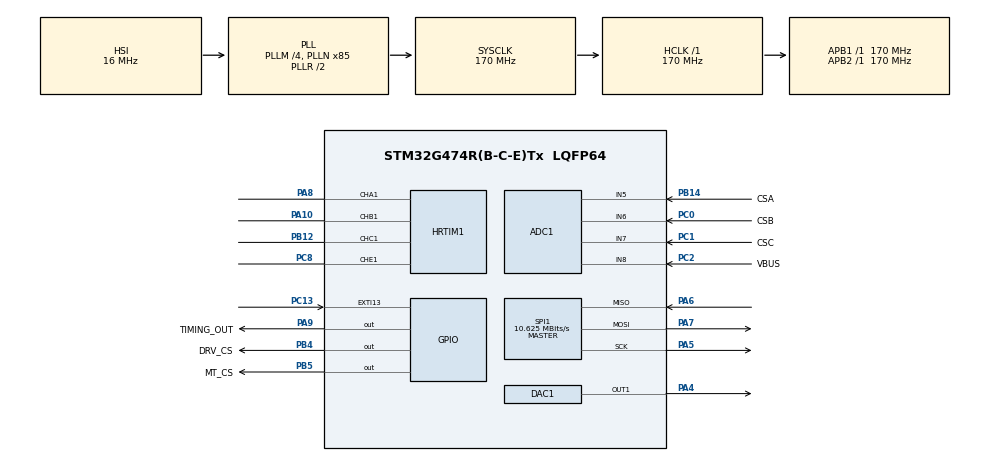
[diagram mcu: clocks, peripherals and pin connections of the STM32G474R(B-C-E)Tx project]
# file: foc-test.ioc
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ADC1.Channel-1\#ChannelRegularConversion=ADC_CHANNEL_5
ADC1.Channel-2\#ChannelRegularConversion=ADC_CHANNEL_6
ADC1.Channel-3\#ChannelRegularConversion=ADC_CHANNEL_7
ADC1.Channel-4\#ChannelRegularConversion=ADC_CHANNEL_8
ADC1.ContinuousConvMode=DISABLE
ADC1.DMAContinuousRequests=ENABLE
ADC1.EnableRegularConversion=ENABLE
ADC1.ExternalTrigConv=ADC_EXTERNALTRIG_HRTIM_TRG1
ADC1.NbrOfConversion=4
ADC1.NbrOfConversionFlag=1
ADC1.OffsetNumber-1\#ChannelRegularConversion=ADC_OFFSET_NONE
ADC1.OffsetNumber-2\#ChannelRegularConversion=ADC_OFFSET_NONE
ADC1.OffsetNumber-3\#ChannelRegularConversion=ADC_OFFSET_NONE
ADC1.OffsetNumber-4\#ChannelRegularConversion=ADC_OFFSET_NONE
ADC1.Rank-1\#ChannelRegularConversion=1
ADC1.Rank-2\#ChannelRegularConversion=2
ADC1.Rank-3\#ChannelRegularConversion=3
ADC1.Rank-4\#ChannelRegularConversion=4
ADC1.SamplingTime-1\#ChannelRegularConversion=ADC_SAMPLETIME_24CYCLES_5
ADC1.SamplingTime-2\#ChannelRegularConversion=ADC_SAMPLETIME_24CYCLES_5
ADC1.SamplingTime-3\#ChannelRegularConversion=ADC_SAMPLETIME_24CYCLES_5
ADC1.SamplingTime-4\#ChannelRegularConversion=ADC_SAMPLETIME_12CYCLES_5
ADC1.master=1
Dma.ADC1.0.Direction=DMA_PERIPH_TO_MEMORY
Dma.ADC1.0.EventEnable=DISABLE
Dma.ADC1.0.Instance=DMA1_Channel1
Dma.ADC1.0.MemDataAlignment=DMA_MDATAALIGN_HALFWORD
Dma.ADC1.0.MemInc=DMA_MINC_ENABLE
Dma.ADC1.0.Mode=DMA_CIRCULAR
Dma.ADC1.0.PeriphDataAlignment=DMA_PDATAALIGN_HALFWORD
Dma.ADC1.0.PeriphInc=DMA_PINC_DISABLE
Dma.ADC1.0.Polarity=HAL_DMAMUX_REQ_GEN_RISING
Dma.ADC1.0.Priority=DMA_PRIORITY_MEDIUM
Dma.ADC1.0.RequestNumber=1
Dma.ADC1.0.SignalID=NONE
Dma.ADC1.0.SyncEnable=DISABLE
Dma.ADC1.0.SyncPolarity=HAL_DMAMUX_SYNC_NO_EVENT
Dma.ADC1.0.SyncRequestNumber=1
Dma.ADC1.0.SyncSignalID=NONE
Dma.Request0=ADC1
HRTIM1.ADCTrigger1_Source1=HRTIM_ADCTRIGGEREVENT13_MASTER_CMP3
HRTIM1.ADCTrigger_Id1=HRTIM_ADCTRIGGER_1
HRTIM1.CompareUnit1-MasterTimer=__NULL
HRTIM1.CompareUnit1-Output_TA1=HRTIM_COMPAREUNIT_1
HRTIM1.CompareUnit1-Output_TB1=HRTIM_COMPAREUNIT_1
HRTIM1.CompareUnit1-Output_TC1=HRTIM_COMPAREUNIT_1
HRTIM1.CompareUnit1-Output_TE1=HRTIM_COMPAREUNIT_1
HRTIM1.CompareUnit2-Output_TA1=HRTIM_COMPAREUNIT_2
HRTIM1.CompareUnit2-Output_TB1=HRTIM_COMPAREUNIT_2
HRTIM1.CompareUnit2-Output_TC1=HRTIM_COMPAREUNIT_2
HRTIM1.CompareUnit3-MasterTimer=HRTIM_COMPAREUNIT_3
HRTIM1.CompareUnit3-Output_TA1=__NULL
HRTIM1.CompareUnit4-MasterTimer=HRTIM_COMPAREUNIT_4
HRTIM1.CompareValue1-Output_TE1=600
HRTIM1.CompareValue4-MasterTimer=0xFFF7 - 8200
HRTIM1.GreaterCMP1_TE=HRTIM_TIMERGTCMP1_EQUAL
HRTIM1.InterruptRequests1_Master=HRTIM_MASTER_IT_MCMP4
HRTIM1.NumberADCTriggerSource1=1
HRTIM1.NumberInterruptRequests_Master-MasterTimer=1
HRTIM1.NumberResetSource1-Output_TA1=1
HRTIM1.NumberResetSource1-Output_TB1=1
HRTIM1.NumberResetSource1-Output_TC1=1
HRTIM1.NumberResetSource1-Output_TE1=1
HRTIM1.NumberSetSource1-Output_TA1=1
HRTIM1.NumberSetSource1-Output_TB1=1
HRTIM1.NumberSetSource1-Output_TC1=1
HRTIM1.NumberSetSource1-Output_TE1=1
HRTIM1.ORingUpdateSource_ADCTrigger1=HRTIM_ADCTRIGGERUPDATE_TIMER_A
HRTIM1.PreloadEnable-MasterTimer=HRTIM_PRELOAD_ENABLED
HRTIM1.PrescalerRatio_MASTER=HRTIM_PRESCALERRATIO_MUL8
HRTIM1.PrescalerRatio_TA=HRTIM_PRESCALERRATIO_MUL8
HRTIM1.PrescalerRatio_TB=HRTIM_PRESCALERRATIO_MUL8
HRTIM1.PrescalerRatio_TC=HRTIM_PRESCALERRATIO_MUL8
HRTIM1.PrescalerRatio_TE=HRTIM_PRESCALERRATIO_MUL8
HRTIM1.RepetitionCounter-MasterTimer=0x00
HRTIM1.RepetitionUpdate-MasterTimer=HRTIM_UPDATEONREPETITION_ENABLED
HRTIM1.ResetOutput1_Source1-Output_TA1=HRTIM_OUTPUTRESET_TIMCMP2
HRTIM1.ResetOutput1_Source1-Output_TB1=HRTIM_OUTPUTRESET_TIMCMP2
HRTIM1.ResetOutput1_Source1-Output_TC1=HRTIM_OUTPUTRESET_TIMCMP2
HRTIM1.ResetOutput1_Source1-Output_TE1=HRTIM_OUTPUTRESET_TIMCMP1
HRTIM1.SetOutput1_Source1-Output_TA1=HRTIM_OUTPUTSET_TIMCMP1
HRTIM1.SetOutput1_Source1-Output_TB1=HRTIM_OUTPUTSET_TIMCMP1
HRTIM1.SetOutput1_Source1-Output_TC1=HRTIM_OUTPUTSET_TIMCMP1
HRTIM1.SetOutput1_Source1-Output_TE1=HRTIM_OUTPUTSET_MASTERCMP3
HRTIM1.UpDownMode-Output_TA1=HRTIM_TIMERUPDOWNMODE_UPDOWN
HRTIM1.UpDownMode-Output_TB1=HRTIM_TIMERUPDOWNMODE_UPDOWN
HRTIM1.UpDownMode-Output_TC1=HRTIM_TIMERUPDOWNMODE_UPDOWN
Mcu.Family=STM32G4
Mcu.Name=STM32G474R(B-C-E)Tx
Mcu.Package=LQFP64
NUCLEO-G474RE.BUTTON=1
NUCLEO-G474RE.LD2=false
NUCLEO-G474RE.VCP=true
NVIC.DMA1_Channel1_IRQn=true\:0\:0\:false\:false\:true\:false\:true\:true
NVIC.EXTI15_10_IRQn=true\:0\:0\:false\:false\:true\:true\:true\:true
NVIC.HRTIM1_Master_IRQn=true\:0\:0\:false\:false\:true\:true\:true\:true
NVIC.PriorityGroup=NVIC_PRIORITYGROUP_4
PA10.Mode=Output_TB1
PA10.Signal=HRTIM1_CHB1
PA13.GPIO_Label=T_SWDIO
PA13.Signal=SYS_JTMS-SWDIO
PA14.GPIO_Label=T_SWCLK
PA14.Signal=SYS_JTCK-SWCLK
PA2.Signal=LPUART1_TX
PA3.Signal=LPUART1_RX
PA4.Signal=COMP_DAC11_group
PA5.Mode=Full_Duplex_Master
PA5.Signal=SPI1_SCK
PA6.Mode=Full_Duplex_Master
PA6.Signal=SPI1_MISO
PA7.Mode=Full_Duplex_Master
PA7.Signal=SPI1_MOSI
PA8.Mode=Output_TA1
PA8.Signal=HRTIM1_CHA1
PA9.GPIO_Label=TIMING_OUT
PA9.GPIO_Speed=GPIO_SPEED_FREQ_VERY_HIGH
PA9.Signal=GPIO_Output
PB12.Mode=Output_TC1
PB12.Signal=HRTIM1_CHC1
PB14.GPIO_Label=CSA
PB14.Mode=IN5-Single-Ended
PB14.Signal=ADC1_IN5
PB3.GPIO_Label=T_SWO
PB3.Signal=SYS_JTDO-SWO
PB4.GPIO_Label=DRV_CS
PB4.GPIO_Speed=GPIO_SPEED_FREQ_VERY_HIGH
PB4.Signal=GPIO_Output
PB5.GPIO_Label=MT_CS
PB5.GPIO_Speed=GPIO_SPEED_FREQ_VERY_HIGH
PB5.Signal=GPIO_Output
PC0.GPIO_Label=CSB
PC0.Mode=IN6-Single-Ended
PC0.Signal=ADC1_IN6
PC1.GPIO_Label=CSC
PC1.Mode=IN7-Single-Ended
PC1.Signal=ADC1_IN7
PC13.Signal=GPXTI13
PC14-OSC32_IN.GPIO_Label=RCC_OSC32_IN
PC14-OSC32_IN.Signal=RCC_OSC32_IN
PC15-OSC32_OUT.GPIO_Label=RCC_OSC32_OUT
PC15-OSC32_OUT.Signal=RCC_OSC32_OUT
PC2.GPIO_Label=VBUS
PC2.Mode=IN8-Single-Ended
PC2.Signal=ADC1_IN8
PC8.Mode=Output_TE1
PC8.Signal=HRTIM1_CHE1
PF0-OSC_IN.GPIO_Label=RCC_OSC_IN
PF0-OSC_IN.Mode=HSE-External-Oscillator
PF0-OSC_IN.Signal=RCC_OSC_IN
PF1-OSC_OUT.GPIO_Label=RCC_OSC_OUT
PF1-OSC_OUT.Mode=HSE-External-Oscillator
PF1-OSC_OUT.Signal=RCC_OSC_OUT
ProjectManager.HeapSize=0x200
ProjectManager.StackSize=0x400
ProjectManager.TargetToolchain=CMake
RCC.ADC12Freq_Value=170000000
RCC.ADC345Freq_Value=170000000
RCC.AHBFreq_Value=170000000
RCC.APB1Freq_Value=170000000
RCC.APB1TimFreq_Value=170000000
RCC.APB2Freq_Value=170000000
RCC.APB2TimFreq_Value=170000000
RCC.CortexFreq_Value=170000000
RCC.EXTERNAL_CLOCK_VALUE=12288000
RCC.HCLKFreq_Value=170000000
RCC.HSE_VALUE=24000000
RCC.HSI48_VALUE=48000000
RCC.HSI_VALUE=16000000
RCC.LSE_VALUE=32768
RCC.PLLM=RCC_PLLM_DIV4
RCC.PLLN=85
RCC.RTCClockSelection=RCC_RTCCLKSOURCE_LSE
RCC.SYSCLKFreq_VALUE=170000000
RCC.SYSCLKSource=RCC_SYSCLKSOURCE_PLLCLK
RCC.USBFreq_Value=170000000
RCC.VCOOutputFreq_Value=340000000
SH.COMP_DAC11_group.0=DAC1_OUT1,DAC_OUT1
SPI1.BaudRatePrescaler=SPI_BAUDRATEPRESCALER_16
SPI1.CLKPhase=SPI_PHASE_2EDGE
SPI1.CLKPolarity=SPI_POLARITY_LOW
SPI1.CalculateBaudRate=10.625 MBits/s
SPI1.DataSize=SPI_DATASIZE_16BIT
SPI1.Direction=SPI_DIRECTION_2LINES
SPI1.Mode=SPI_MODE_MASTER
SPI1.VirtualType=VM_MASTER
STMicroelectronics.X-CUBE-ALGOBUILD.1.4.0.LibraryCcDSPOoLibraryJjDSPOoLibrary=true
VP_HRTIM1_VS_hrtimMasterTimerNoOutput.Mode=MasterTimer
VP_NUCLEO-G474RE_VS_BSP_COMMON.Mode=COMMON
VP_STMicroelectronics.X-CUBE-ALGOBUILD_VS_DSPOoLibraryJjLibrary_1.4.0_1.4.0.Mode=DSPOoLibraryJjLibrary
VP_SYS_VS_DBSignals.Mode=DisableDeadBatterySignals
board=NUCLEO-G474RE

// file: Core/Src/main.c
/* USER CODE BEGIN Header */
/**
 ******************************************************************************
 * @file           : main.c
 * @brief          : Main program body
 ******************************************************************************
 * @attention
 *
 * Copyright (c) 2025 STMicroelectronics.
 * All rights reserved.
 *
 * This software is licensed under terms that can be found in the LICENSE file
 * in the root directory of this software component.
 * If no LICENSE file comes with this software, it is provided AS-IS.
 *
 ******************************************************************************
 */
/* USER CODE END Header */
#include "main.h"

/* USER CODE BEGIN Includes */
#include <math.h>
#include <stdbool.h>

#include "foc.h"
#include "peripheral.h"
/* USER CODE END Includes */

COM_InitTypeDef BspCOMInit;
ADC_HandleTypeDef hadc1;
DMA_HandleTypeDef hdma_adc1;

DAC_HandleTypeDef hdac1;

HRTIM_HandleTypeDef hhrtim1;

SPI_HandleTypeDef hspi1;

void SystemClock_Config(void);
static void MX_GPIO_Init(void);
static void MX_DMA_Init(void);
static void MX_HRTIM1_Init(void);
static void MX_SPI1_Init(void);
static void MX_ADC1_Init(void);
static void MX_DAC1_Init(void);

int main(void) {

  /* MCU Configuration--------------------------------------------------------*/

  /* Reset of all peripherals, Initializes the Flash interface and the Systick.
   */
  HAL_Init();

  /* Configure the system clock */
  SystemClock_Config();

  /* Initialize all configured peripherals */
  MX_GPIO_Init();
  MX_DMA_Init();
  MX_HRTIM1_Init();
  MX_SPI1_Init();
  MX_ADC1_Init();
  MX_DAC1_Init();
  /* USER CODE BEGIN 2 */

  // ADC
  HAL_ADC_Start_DMA(&hadc1, (uint32_t *)CSA, 4);

  // HRTIM
  HAL_HRTIM_WaveformOutputStart(&hhrtim1, HRTIM_OUTPUT_TA1 | HRTIM_OUTPUT_TB1 |
                                              HRTIM_OUTPUT_TC1 |
                                              HRTIM_OUTPUT_TE1);
  HAL_HRTIM_WaveformCounterStart(&hhrtim1, HRTIM_TIMERID_TIMER_A |
                                               HRTIM_TIMERID_TIMER_B |
                                               HRTIM_TIMERID_TIMER_C);
  HAL_HRTIM_WaveformCounterStart_IT(
      &hhrtim1, HRTIM_TIMERID_MASTER | HRTIM_TIMERID_TIMER_E);
  /*HAL_HRTIM_TIMxRegisterCallback(&hhrtim1,
                                 HAL_HRTIM_REPETITIONEVENTCALLBACK_CB_ID,
                                 &HAL_HRTIM_RepetitionEventCallback);*/
  __enable_irq();

  DUTY_CYCLE(&hhrtim1, HRTIM_TIMERINDEX_TIMER_A, 0.0f);
  DUTY_CYCLE(&hhrtim1, HRTIM_TIMERINDEX_TIMER_B, 0.0f);
  DUTY_CYCLE(&hhrtim1, HRTIM_TIMERINDEX_TIMER_C, 0.0f);

  // DAC
  HAL_DAC_Start(&hdac1, DAC_CHANNEL_1);

  /* USER CODE END 2 */

  /* Initialize USER push-button, will be used to trigger an interrupt each time
   * it's pressed.*/
  BSP_PB_Init(BUTTON_USER, BUTTON_MODE_EXTI);

  /* Initialize COM1 port (115200, 8 bits (7-bit data + 1 stop bit), no parity
   */
  BspCOMInit.BaudRate = 115200;
  BspCOMInit.WordLength = COM_WORDLENGTH_8B;
  BspCOMInit.StopBits = COM_STOPBITS_1;
  BspCOMInit.Parity = COM_PARITY_NONE;
  BspCOMInit.HwFlowCtl = COM_HWCONTROL_NONE;
  if (BSP_COM_Init(COM1, &BspCOMInit) != BSP_ERROR_NONE) {
    Error_Handler();
  }

  /* Infinite loop */
  /* USER CODE BEGIN WHILE */
  // DRV
  SPI_MODE_DRV(&hspi1);

  int a = 0;
  while (a == 0) {
    HAL_Delay(1);
  }

  printf("--SHOULD BE 0x00--\n");
  printf("Warnings & Watchdog Reset: 0x%X\n", DRV_Read(&hspi1, 0x1));
  printf("OV/VDS Faults: 0x%X\n", DRV_Read(&hspi1, 0x2));
  printf("IC Faults: 0x%X\n", DRV_Read(&hspi1, 0x3));
  printf("VGS Faults: 0x%X\n", DRV_Read(&hspi1, 0x4));

  printf("--SHOULD BE 0x344--\n");
  printf("Control Gate A: 0x%X\n", DRV_Read(&hspi1, 0x5));

  // Set the registers
  DRV_Write(&hspi1, 0x5,
            0x378);  // 1758ns drive time, 0.25A source/sink (high-side)
  DRV_Write(&hspi1, 0x6,
            0x378);  // 1758ns drive time, 0.25A source/sink (low-side)
  DRV_Write(&hspi1, 0x7,
            0x286);  // defaults except 3 input pwm, 35ns added dead time
  // DRV_Write(0xA, 0x07F);  // Defaults except 80V/V for amplifier
  DRV_Write(&hspi1, 0xA, 0x2A);   // Defaults except 40V/V for amplifier
  DRV_Write(&hspi1, 0xC, 0x050);  // Set VDS trip = 0.109V, roughly 21.8A

  printf("--SHOULD BE 0x378--\n");
  printf("Control Gate A: 0x%X\n", DRV_Read(&hspi1, 0x5));

  // MT
  SPI_MODE_MT(&hspi1);
  HAL_Delay(5);
  FOC_Enable();
  float target_vel = 20.0f;  // rad/s
  // int timind = 0;
  while (1) {
    /* USER CODE END WHILE */

    /* USER CODE BEGIN 3 */
    // Velocity PID
    float I_new = 0.1f * (target_vel - vel);
    if (I_new < -2.0f) {
      I_new = -2.0f;
    }
    if (I_new > 2.0f) {
      I_new = 2.0f;
    }
    I_ref = I_new;
    HAL_Delay(5);

    // RESISTANCE MEASUREMENT
    /*DUTY_CYCLE(&hhrtim1, HRTIM_TIMERINDEX_TIMER_A, 0.02f);
    DUTY_CYCLE(&hhrtim1, HRTIM_TIMERINDEX_TIMER_B, 0.0f);
    DUTY_CYCLE(&hhrtim1, HRTIM_TIMERINDEX_TIMER_C, 0.0f);
    float csa = 0.0040283203f * (CSA[0] - 2029);
    float csb = 0.0040283203f * (CSA[1] - 2028);
    float csc = 0.0040283203f * (CSA[2] - 2022);
    float volt = CSA[3] * 0.0032470701f;
    printf("csa:%f,csb:%f,csc:%f,volt:%f\n", csa, csb, csc, volt);
    // Total resistance: (volt * 0.02)/csa = 0.15055920053
    // Phase resistance: 2/3 * total resistance = 0.10037280035*/

    // DETERMINING STEADY STATE
    /*uint32_t csa_tot = 0;
    uint32_t csb_tot = 0;
    uint32_t csc_tot = 0;
    for (int i = 0; i < 200; i++) {
      csa_tot += CSA[0];
      csb_tot += CSA[1];
      csc_tot += CSA[2];
      for (volatile int i = 0; i < 1700; i++) {  // 10uS delay
        __NOP();
      }
    }
    printf("csa:%lu,csb:%lu,csc:%lu\n", csa_tot / 200, csb_tot / 200,
           csc_tot / 200);*/

    // ANGLE SENSOR CALIBRATION
    /*if (timind == 0) {
      DUTY_CYCLE(&hhrtim1, HRTIM_TIMERINDEX_TIMER_A, 0.02);
      DUTY_CYCLE(&hhrtim1, HRTIM_TIMERINDEX_TIMER_B, 0.0f);
      DUTY_CYCLE(&hhrtim1, HRTIM_TIMERINDEX_TIMER_C, 0.0f);
    } else if (timind == 1) {
      DUTY_CYCLE(&hhrtim1, HRTIM_TIMERINDEX_TIMER_A, 0.0f);
      DUTY_CYCLE(&hhrtim1, HRTIM_TIMERINDEX_TIMER_B, 0.02);
      DUTY_CYCLE(&hhrtim1, HRTIM_TIMERINDEX_TIMER_C, 0.0f);
    } else if (timind == 2) {
      DUTY_CYCLE(&hhrtim1, HRTIM_TIMERINDEX_TIMER_A, 0.0f);
      DUTY_CYCLE(&hhrtim1, HRTIM_TIMERINDEX_TIMER_B, 0.0f);
      DUTY_CYCLE(&hhrtim1, HRTIM_TIMERINDEX_TIMER_C, 0.02);
    }
    float angle = MT_READ(&hspi1);
    printf("angle:%f\n", angle);
    HAL_Delay(10);*/
  }
  /* USER CODE END 3 */
}

void SystemClock_Config(void) {
  RCC_OscInitTypeDef RCC_OscInitStruct = {0};
  RCC_ClkInitTypeDef RCC_ClkInitStruct = {0};

  /** Configure the main internal regulator output voltage
   */
  HAL_PWREx_ControlVoltageScaling(PWR_REGULATOR_VOLTAGE_SCALE1_BOOST);

  /** Initializes the RCC Oscillators according to the specified parameters
   * in the RCC_OscInitTypeDef structure.
   */
  RCC_OscInitStruct.OscillatorType = RCC_OSCILLATORTYPE_HSI;
  RCC_OscInitStruct.HSIState = RCC_HSI_ON;
  RCC_OscInitStruct.HSICalibrationValue = RCC_HSICALIBRATION_DEFAULT;
  RCC_OscInitStruct.PLL.PLLState = RCC_PLL_ON;
  RCC_OscInitStruct.PLL.PLLSource = RCC_PLLSOURCE_HSI;
  RCC_OscInitStruct.PLL.PLLM = RCC_PLLM_DIV4;
  RCC_OscInitStruct.PLL.PLLN = 85;
  RCC_OscInitStruct.PLL.PLLP = RCC_PLLP_DIV2;
  RCC_OscInitStruct.PLL.PLLQ = RCC_PLLQ_DIV2;
  RCC_OscInitStruct.PLL.PLLR = RCC_PLLR_DIV2;
  if (HAL_RCC_OscConfig(&RCC_OscInitStruct) != HAL_OK) {
    Error_Handler();
  }

  /** Initializes the CPU, AHB and APB buses clocks
   */
  RCC_ClkInitStruct.ClockType = RCC_CLOCKTYPE_HCLK | RCC_CLOCKTYPE_SYSCLK |
                                RCC_CLOCKTYPE_PCLK1 | RCC_CLOCKTYPE_PCLK2;
  RCC_ClkInitStruct.SYSCLKSource = RCC_SYSCLKSOURCE_PLLCLK;
  RCC_ClkInitStruct.AHBCLKDivider = RCC_SYSCLK_DIV1;
  RCC_ClkInitStruct.APB1CLKDivider = RCC_HCLK_DIV1;
  RCC_ClkInitStruct.APB2CLKDivider = RCC_HCLK_DIV1;

  if (HAL_RCC_ClockConfig(&RCC_ClkInitStruct, FLASH_LATENCY_4) != HAL_OK) {
    Error_Handler();
  }
}

static void MX_ADC1_Init(void) {

  ADC_MultiModeTypeDef multimode = {0};
  ADC_ChannelConfTypeDef sConfig = {0};

  /** Common config
   */
  hadc1.Instance = ADC1;
  hadc1.Init.ClockPrescaler = ADC_CLOCK_SYNC_PCLK_DIV4;
  hadc1.Init.Resolution = ADC_RESOLUTION_12B;
  hadc1.Init.DataAlign = ADC_DATAALIGN_RIGHT;
  hadc1.Init.GainCompensation = 0;
  hadc1.Init.ScanConvMode = ADC_SCAN_ENABLE;
  hadc1.Init.EOCSelection = ADC_EOC_SINGLE_CONV;
  hadc1.Init.LowPowerAutoWait = DISABLE;
  hadc1.Init.ContinuousConvMode = DISABLE;
  hadc1.Init.NbrOfConversion = 4;
  hadc1.Init.DiscontinuousConvMode = DISABLE;
  hadc1.Init.ExternalTrigConv = ADC_EXTERNALTRIG_HRTIM_TRG1;
  hadc1.Init.ExternalTrigConvEdge = ADC_EXTERNALTRIGCONVEDGE_RISING;
  hadc1.Init.DMAContinuousRequests = ENABLE;
  hadc1.Init.Overrun = ADC_OVR_DATA_PRESERVED;
  hadc1.Init.OversamplingMode = DISABLE;
  if (HAL_ADC_Init(&hadc1) != HAL_OK) {
    Error_Handler();
  }

  /** Configure the ADC multi-mode
   */
  multimode.Mode = ADC_MODE_INDEPENDENT;
  if (HAL_ADCEx_MultiModeConfigChannel(&hadc1, &multimode) != HAL_OK) {
    Error_Handler();
  }

  /** Configure Regular Channel
   */
  sConfig.Channel = ADC_CHANNEL_5;
  sConfig.Rank = ADC_REGULAR_RANK_1;
  sConfig.SamplingTime = ADC_SAMPLETIME_24CYCLES_5;
  sConfig.SingleDiff = ADC_SINGLE_ENDED;
  sConfig.OffsetNumber = ADC_OFFSET_NONE;
  sConfig.Offset = 0;
  if (HAL_ADC_ConfigChannel(&hadc1, &sConfig) != HAL_OK) {
    Error_Handler();
  }

  /** Configure Regular Channel
   */
  sConfig.Channel = ADC_CHANNEL_6;
  sConfig.Rank = ADC_REGULAR_RANK_2;
  if (HAL_ADC_ConfigChannel(&hadc1, &sConfig) != HAL_OK) {
    Error_Handler();
  }

  /** Configure Regular Channel
   */
  sConfig.Channel = ADC_CHANNEL_7;
  sConfig.Rank = ADC_REGULAR_RANK_3;
  if (HAL_ADC_ConfigChannel(&hadc1, &sConfig) != HAL_OK) {
    Error_Handler();
  }

  /** Configure Regular Channel
   */
  sConfig.Channel = ADC_CHANNEL_8;
  sConfig.Rank = ADC_REGULAR_RANK_4;
  sConfig.SamplingTime = ADC_SAMPLETIME_12CYCLES_5;
  if (HAL_ADC_ConfigChannel(&hadc1, &sConfig) != HAL_OK) {
    Error_Handler();
  }
}

static void MX_DAC1_Init(void) {

  DAC_ChannelConfTypeDef sConfig = {0};

  /** DAC Initialization
   */
  hdac1.Instance = DAC1;
  if (HAL_DAC_Init(&hdac1) != HAL_OK) {
    Error_Handler();
  }

  /** DAC channel OUT1 config
   */
  sConfig.DAC_HighFrequency = DAC_HIGH_FREQUENCY_INTERFACE_MODE_AUTOMATIC;
  sConfig.DAC_DMADoubleDataMode = DISABLE;
  sConfig.DAC_SignedFormat = DISABLE;
  sConfig.DAC_SampleAndHold = DAC_SAMPLEANDHOLD_DISABLE;
  sConfig.DAC_Trigger = DAC_TRIGGER_NONE;
  sConfig.DAC_Trigger2 = DAC_TRIGGER_NONE;
  sConfig.DAC_OutputBuffer = DAC_OUTPUTBUFFER_ENABLE;
  sConfig.DAC_ConnectOnChipPeripheral = DAC_CHIPCONNECT_EXTERNAL;
  sConfig.DAC_UserTrimming = DAC_TRIMMING_FACTORY;
  if (HAL_DAC_ConfigChannel(&hdac1, &sConfig, DAC_CHANNEL_1) != HAL_OK) {
    Error_Handler();
  }
}

static void MX_HRTIM1_Init(void) {

  HRTIM_ADCTriggerCfgTypeDef pADCTriggerCfg = {0};
  HRTIM_TimeBaseCfgTypeDef pTimeBaseCfg = {0};
  HRTIM_TimerCfgTypeDef pTimerCfg = {0};
  HRTIM_CompareCfgTypeDef pCompareCfg = {0};
  HRTIM_TimerCtlTypeDef pTimerCtl = {0};
  HRTIM_OutputCfgTypeDef pOutputCfg = {0};

  hhrtim1.Instance = HRTIM1;
  hhrtim1.Init.HRTIMInterruptResquests = HRTIM_IT_NONE;
  hhrtim1.Init.SyncOptions = HRTIM_SYNCOPTION_NONE;
  if (HAL_HRTIM_Init(&hhrtim1) != HAL_OK) {
    Error_Handler();
  }
  if (HAL_HRTIM_DLLCalibrationStart(&hhrtim1, HRTIM_CALIBRATIONRATE_3) !=
      HAL_OK) {
    Error_Handler();
  }
  if (HAL_HRTIM_PollForDLLCalibration(&hhrtim1, 10) != HAL_OK) {
    Error_Handler();
  }
  pADCTriggerCfg.UpdateSource = HRTIM_ADCTRIGGERUPDATE_TIMER_A;
  pADCTriggerCfg.Trigger = HRTIM_ADCTRIGGEREVENT13_MASTER_CMP3;
  if (HAL_HRTIM_ADCTriggerConfig(&hhrtim1, HRTIM_ADCTRIGGER_1,
                                 &pADCTriggerCfg) != HAL_OK) {
    Error_Handler();
  }
  if (HAL_HRTIM_ADCPostScalerConfig(&hhrtim1, HRTIM_ADCTRIGGER_1, 0x0) !=
      HAL_OK) {
    Error_Handler();
  }
  pTimeBaseCfg.Period = 0xFFF7;
  pTimeBaseCfg.RepetitionCounter = 0x00;
  pTimeBaseCfg.PrescalerRatio = HRTIM_PRESCALERRATIO_MUL8;
  pTimeBaseCfg.Mode = HRTIM_MODE_CONTINUOUS;
  if (HAL_HRTIM_TimeBaseConfig(&hhrtim1, HRTIM_TIMERINDEX_MASTER,
                               &pTimeBaseCfg) != HAL_OK) {
    Error_Handler();
  }
  pTimerCfg.InterruptRequests = HRTIM_MASTER_IT_MCMP4;
  pTimerCfg.DMARequests = HRTIM_MASTER_DMA_NONE;
  pTimerCfg.DMASrcAddress = 0x0000;
  pTimerCfg.DMADstAddress = 0x0000;
  pTimerCfg.DMASize = 0x1;
  pTimerCfg.HalfModeEnable = HRTIM_HALFMODE_DISABLED;
  pTimerCfg.InterleavedMode = HRTIM_INTERLEAVED_MODE_DISABLED;
  pTimerCfg.StartOnSync = HRTIM_SYNCSTART_DISABLED;
  pTimerCfg.ResetOnSync = HRTIM_SYNCRESET_DISABLED;
  pTimerCfg.DACSynchro = HRTIM_DACSYNC_NONE;
  pTimerCfg.PreloadEnable = HRTIM_PRELOAD_ENABLED;
  pTimerCfg.UpdateGating = HRTIM_UPDATEGATING_INDEPENDENT;
  pTimerCfg.BurstMode = HRTIM_TIMERBURSTMODE_MAINTAINCLOCK;
  pTimerCfg.RepetitionUpdate = HRTIM_UPDATEONREPETITION_ENABLED;
  pTimerCfg.ReSyncUpdate = HRTIM_TIMERESYNC_UPDATE_UNCONDITIONAL;
  if (HAL_HRTIM_WaveformTimerConfig(&hhrtim1, HRTIM_TIMERINDEX_MASTER,
                                    &pTimerCfg) != HAL_OK) {
    Error_Handler();
  }
  pCompareCfg.CompareValue = 0xFFF7;
  if (HAL_HRTIM_WaveformCompareConfig(&hhrtim1, HRTIM_TIMERINDEX_MASTER,
                                      HRTIM_COMPAREUNIT_3,
                                      &pCompareCfg) != HAL_OK) {
    Error_Handler();
  }
  pCompareCfg.CompareValue = 0xFFF7 - 8200;
  if (HAL_HRTIM_WaveformCompareConfig(&hhrtim1, HRTIM_TIMERINDEX_MASTER,
                                      HRTIM_COMPAREUNIT_4,
                                      &pCompareCfg) != HAL_OK) {
    Error_Handler();
  }
  if (HAL_HRTIM_TimeBaseConfig(&hhrtim1, HRTIM_TIMERINDEX_TIMER_A,
                               &pTimeBaseCfg) != HAL_OK) {
    Error_Handler();
  }
  pTimerCtl.UpDownMode = HRTIM_TIMERUPDOWNMODE_UPDOWN;
  pTimerCtl.TrigHalf = HRTIM_TIMERTRIGHALF_DISABLED;
  pTimerCtl.GreaterCMP1 = HRTIM_TIMERGTCMP1_EQUAL;
  pTimerCtl.DualChannelDacEnable = HRTIM_TIMER_DCDE_DISABLED;
  if (HAL_HRTIM_WaveformTimerControl(&hhrtim1, HRTIM_TIMERINDEX_TIMER_A,
                                     &pTimerCtl) != HAL_OK) {
    Error_Handler();
  }
  if (HAL_HRTIM_RollOverModeConfig(
          &hhrtim1, HRTIM_TIMERINDEX_TIMER_A,
          HRTIM_TIM_FEROM_BOTH | HRTIM_TIM_BMROM_BOTH | HRTIM_TIM_ADROM_BOTH |
              HRTIM_TIM_OUTROM_BOTH | HRTIM_TIM_ROM_BOTH) != HAL_OK) {
    Error_Handler();
  }
  pTimerCfg.InterruptRequests = HRTIM_TIM_IT_NONE;
  pTimerCfg.DMARequests = HRTIM_TIM_DMA_NONE;
  pTimerCfg.PreloadEnable = HRTIM_PRELOAD_DISABLED;
  pTimerCfg.RepetitionUpdate = HRTIM_UPDATEONREPETITION_DISABLED;
  pTimerCfg.PushPull = HRTIM_TIMPUSHPULLMODE_DISABLED;
  pTimerCfg.FaultEnable = HRTIM_TIMFAULTENABLE_NONE;
  pTimerCfg.FaultLock = HRTIM_TIMFAULTLOCK_READWRITE;
  pTimerCfg.DeadTimeInsertion = HRTIM_TIMDEADTIMEINSERTION_DISABLED;
  pTimerCfg.DelayedProtectionMode =
      HRTIM_TIMER_A_B_C_DELAYEDPROTECTION_DISABLED;
  pTimerCfg.UpdateTrigger = HRTIM_TIMUPDATETRIGGER_NONE;
  pTimerCfg.ResetTrigger = HRTIM_TIMRESETTRIGGER_NONE;
  pTimerCfg.ResetUpdate = HRTIM_TIMUPDATEONRESET_DISABLED;
  if (HAL_HRTIM_WaveformTimerConfig(&hhrtim1, HRTIM_TIMERINDEX_TIMER_A,
                                    &pTimerCfg) != HAL_OK) {
    Error_Handler();
  }
  if (HAL_HRTIM_WaveformTimerConfig(&hhrtim1, HRTIM_TIMERINDEX_TIMER_B,
                                    &pTimerCfg) != HAL_OK) {
    Error_Handler();
  }
  if (HAL_HRTIM_WaveformTimerConfig(&hhrtim1, HRTIM_TIMERINDEX_TIMER_C,
                                    &pTimerCfg) != HAL_OK) {
    Error_Handler();
  }
  pTimerCfg.DelayedProtectionMode = HRTIM_TIMER_D_E_DELAYEDPROTECTION_DISABLED;
  if (HAL_HRTIM_WaveformTimerConfig(&hhrtim1, HRTIM_TIMERINDEX_TIMER_E,
                                    &pTimerCfg) != HAL_OK) {
    Error_Handler();
  }
  if (HAL_HRTIM_WaveformCompareConfig(&hhrtim1, HRTIM_TIMERINDEX_TIMER_A,
                                      HRTIM_COMPAREUNIT_1,
                                      &pCompareCfg) != HAL_OK) {
    Error_Handler();
  }
  pCompareCfg.AutoDelayedMode = HRTIM_AUTODELAYEDMODE_REGULAR;
  pCompareCfg.AutoDelayedTimeout = 0x0000;

  if (HAL_HRTIM_WaveformCompareConfig(&hhrtim1, HRTIM_TIMERINDEX_TIMER_A,
                                      HRTIM_COMPAREUNIT_2,
                                      &pCompareCfg) != HAL_OK) {
    Error_Handler();
  }
  pOutputCfg.Polarity = HRTIM_OUTPUTPOLARITY_HIGH;
  pOutputCfg.SetSource = HRTIM_OUTPUTSET_TIMCMP1;
  pOutputCfg.ResetSource = HRTIM_OUTPUTRESET_TIMCMP2;
  pOutputCfg.IdleMode = HRTIM_OUTPUTIDLEMODE_NONE;
  pOutputCfg.IdleLevel = HRTIM_OUTPUTIDLELEVEL_INACTIVE;
  pOutputCfg.FaultLevel = HRTIM_OUTPUTFAULTLEVEL_NONE;
  pOutputCfg.ChopperModeEnable = HRTIM_OUTPUTCHOPPERMODE_DISABLED;
  pOutputCfg.BurstModeEntryDelayed = HRTIM_OUTPUTBURSTMODEENTRY_REGULAR;
  if (HAL_HRTIM_WaveformOutputConfig(&hhrtim1, HRTIM_TIMERINDEX_TIMER_A,
                                     HRTIM_OUTPUT_TA1, &pOutputCfg) != HAL_OK) {
    Error_Handler();
  }
  if (HAL_HRTIM_WaveformOutputConfig(&hhrtim1, HRTIM_TIMERINDEX_TIMER_B,
                                     HRTIM_OUTPUT_TB1, &pOutputCfg) != HAL_OK) {
    Error_Handler();
  }
  if (HAL_HRTIM_WaveformOutputConfig(&hhrtim1, HRTIM_TIMERINDEX_TIMER_C,
                                     HRTIM_OUTPUT_TC1, &pOutputCfg) != HAL_OK) {
    Error_Handler();
  }
  pOutputCfg.SetSource = HRTIM_OUTPUTSET_MASTERCMP3;
  pOutputCfg.ResetSource = HRTIM_OUTPUTRESET_TIMCMP1;
  if (HAL_HRTIM_WaveformOutputConfig(&hhrtim1, HRTIM_TIMERINDEX_TIMER_E,
                                     HRTIM_OUTPUT_TE1, &pOutputCfg) != HAL_OK) {
    Error_Handler();
  }
  if (HAL_HRTIM_TimeBaseConfig(&hhrtim1, HRTIM_TIMERINDEX_TIMER_B,
                               &pTimeBaseCfg) != HAL_OK) {
    Error_Handler();
  }
  if (HAL_HRTIM_WaveformTimerControl(&hhrtim1, HRTIM_TIMERINDEX_TIMER_B,
                                     &pTimerCtl) != HAL_OK) {
    Error_Handler();
  }
  if (HAL_HRTIM_RollOverModeConfig(
          &hhrtim1, HRTIM_TIMERINDEX_TIMER_B,
          HRTIM_TIM_FEROM_BOTH | HRTIM_TIM_BMROM_BOTH | HRTIM_TIM_ADROM_BOTH |
              HRTIM_TIM_OUTROM_BOTH | HRTIM_TIM_ROM_BOTH) != HAL_OK) {
    Error_Handler();
  }
  if (HAL_HRTIM_WaveformCompareConfig(&hhrtim1, HRTIM_TIMERINDEX_TIMER_B,
                                      HRTIM_COMPAREUNIT_1,
                                      &pCompareCfg) != HAL_OK) {
    Error_Handler();
  }

  if (HAL_HRTIM_WaveformCompareConfig(&hhrtim1, HRTIM_TIMERINDEX_TIMER_B,
                                      HRTIM_COMPAREUNIT_2,
                                      &pCompareCfg) != HAL_OK) {
    Error_Handler();
  }
  if (HAL_HRTIM_TimeBaseConfig(&hhrtim1, HRTIM_TIMERINDEX_TIMER_C,
                               &pTimeBaseCfg) != HAL_OK) {
    Error_Handler();
  }
  if (HAL_HRTIM_WaveformTimerControl(&hhrtim1, HRTIM_TIMERINDEX_TIMER_C,
                                     &pTimerCtl) != HAL_OK) {
    Error_Handler();
  }
  if (HAL_HRTIM_RollOverModeConfig(
          &hhrtim1, HRTIM_TIMERINDEX_TIMER_C,
          HRTIM_TIM_FEROM_BOTH | HRTIM_TIM_BMROM_BOTH | HRTIM_TIM_ADROM_BOTH |
              HRTIM_TIM_OUTROM_BOTH | HRTIM_TIM_ROM_BOTH) != HAL_OK) {
    Error_Handler();
  }
  if (HAL_HRTIM_WaveformCompareConfig(&hhrtim1, HRTIM_TIMERINDEX_TIMER_C,
                                      HRTIM_COMPAREUNIT_1,
                                      &pCompareCfg) != HAL_OK) {
    Error_Handler();
  }

  if (HAL_HRTIM_WaveformCompareConfig(&hhrtim1, HRTIM_TIMERINDEX_TIMER_C,
                                      HRTIM_COMPAREUNIT_2,
                                      &pCompareCfg) != HAL_OK) {
    Error_Handler();
  }
  if (HAL_HRTIM_TimeBaseConfig(&hhrtim1, HRTIM_TIMERINDEX_TIMER_E,
                               &pTimeBaseCfg) != HAL_OK) {
    Error_Handler();
  }
  pTimerCtl.UpDownMode = HRTIM_TIMERUPDOWNMODE_UP;
  if (HAL_HRTIM_WaveformTimerControl(&hhrtim1, HRTIM_TIMERINDEX_TIMER_E,
                                     &pTimerCtl) != HAL_OK) {
    Error_Handler();
  }
  pCompareCfg.CompareValue = 600;
  if (HAL_HRTIM_WaveformCompareConfig(&hhrtim1, HRTIM_TIMERINDEX_TIMER_E,
                                      HRTIM_COMPAREUNIT_1,
                                      &pCompareCfg) != HAL_OK) {
    Error_Handler();
  }
  HAL_HRTIM_MspPostInit(&hhrtim1);
}

static void MX_SPI1_Init(void) {

  /* SPI1 parameter configuration*/
  hspi1.Instance = SPI1;
  hspi1.Init.Mode = SPI_MODE_MASTER;
  hspi1.Init.Direction = SPI_DIRECTION_2LINES;
  hspi1.Init.DataSize = SPI_DATASIZE_16BIT;
  hspi1.Init.CLKPolarity = SPI_POLARITY_LOW;
  hspi1.Init.CLKPhase = SPI_PHASE_2EDGE;
  hspi1.Init.NSS = SPI_NSS_SOFT;
  hspi1.Init.BaudRatePrescaler = SPI_BAUDRATEPRESCALER_16;
  hspi1.Init.FirstBit = SPI_FIRSTBIT_MSB;
  hspi1.Init.TIMode = SPI_TIMODE_DISABLE;
  hspi1.Init.CRCCalculation = SPI_CRCCALCULATION_DISABLE;
  hspi1.Init.CRCPolynomial = 7;
  hspi1.Init.CRCLength = SPI_CRC_LENGTH_DATASIZE;
  hspi1.Init.NSSPMode = SPI_NSS_PULSE_DISABLE;
  if (HAL_SPI_Init(&hspi1) != HAL_OK) {
    Error_Handler();
  }
}

static void MX_DMA_Init(void) {
  /* DMA controller clock enable */
  __HAL_RCC_DMAMUX1_CLK_ENABLE();
  __HAL_RCC_DMA1_CLK_ENABLE();

  /* DMA interrupt init */
  /* DMA1_Channel1_IRQn interrupt configuration */
  HAL_NVIC_SetPriority(DMA1_Channel1_IRQn, 0, 0);
  HAL_NVIC_EnableIRQ(DMA1_Channel1_IRQn);
}

static void MX_GPIO_Init(void) {
  GPIO_InitTypeDef GPIO_InitStruct = {0};

  /* GPIO Ports Clock Enable */
  __HAL_RCC_GPIOC_CLK_ENABLE();
  __HAL_RCC_GPIOF_CLK_ENABLE();
  __HAL_RCC_GPIOA_CLK_ENABLE();
  __HAL_RCC_GPIOB_CLK_ENABLE();

  /*Configure GPIO pin Output Level */
  HAL_GPIO_WritePin(TIMING_OUT_GPIO_Port, TIMING_OUT_Pin, GPIO_PIN_RESET);

  /*Configure GPIO pin Output Level */
  HAL_GPIO_WritePin(GPIOB, DRV_CS_Pin | MT_CS_Pin, GPIO_PIN_RESET);

  /*Configure GPIO pin : PC13 */
  GPIO_InitStruct.Pin = GPIO_PIN_13;
  GPIO_InitStruct.Mode = GPIO_MODE_IT_RISING;
  GPIO_InitStruct.Pull = GPIO_NOPULL;
  HAL_GPIO_Init(GPIOC, &GPIO_InitStruct);

  /*Configure GPIO pins : PA2 PA3 */
  GPIO_InitStruct.Pin = GPIO_PIN_2 | GPIO_PIN_3;
  GPIO_InitStruct.Mode = GPIO_MODE_AF_PP;
  GPIO_InitStruct.Pull = GPIO_NOPULL;
  GPIO_InitStruct.Speed = GPIO_SPEED_FREQ_LOW;
  GPIO_InitStruct.Alternate = GPIO_AF12_LPUART1;
  HAL_GPIO_Init(GPIOA, &GPIO_InitStruct);

  /*Configure GPIO pin : TIMING_OUT_Pin */
  GPIO_InitStruct.Pin = TIMING_OUT_Pin;
  GPIO_InitStruct.Mode = GPIO_MODE_OUTPUT_PP;
  GPIO_InitStruct.Pull = GPIO_NOPULL;
  GPIO_InitStruct.Speed = GPIO_SPEED_FREQ_VERY_HIGH;
  HAL_GPIO_Init(TIMING_OUT_GPIO_Port, &GPIO_InitStruct);

  /*Configure GPIO pins : DRV_CS_Pin MT_CS_Pin */
  GPIO_InitStruct.Pin = DRV_CS_Pin | MT_CS_Pin;
  GPIO_InitStruct.Mode = GPIO_MODE_OUTPUT_PP;
  GPIO_InitStruct.Pull = GPIO_NOPULL;
  GPIO_InitStruct.Speed = GPIO_SPEED_FREQ_VERY_HIGH;
  HAL_GPIO_Init(GPIOB, &GPIO_InitStruct);

}

void Error_Handler(void) {
  __disable_irq();
  while (1) {
  }
}

#ifdef USE_FULL_ASSERT
/**
 * @brief  Reports the name of the source file and the source line number
 *         where the assert_param error has occurred.
 * @param  file: pointer to the source file name
 * @param  line: assert_param error line source number
 * @retval None
 */
void assert_failed(uint8_t *file, uint32_t line) {
  /* USER CODE BEGIN 6 */
  /* User can add his own implementation to report the file name and line
     number, ex: printf("Wrong parameters value: file %s on line %d\r\n", file,
     line) */
  /* USER CODE END 6 */
}
#endif /* USE_FULL_ASSERT */
